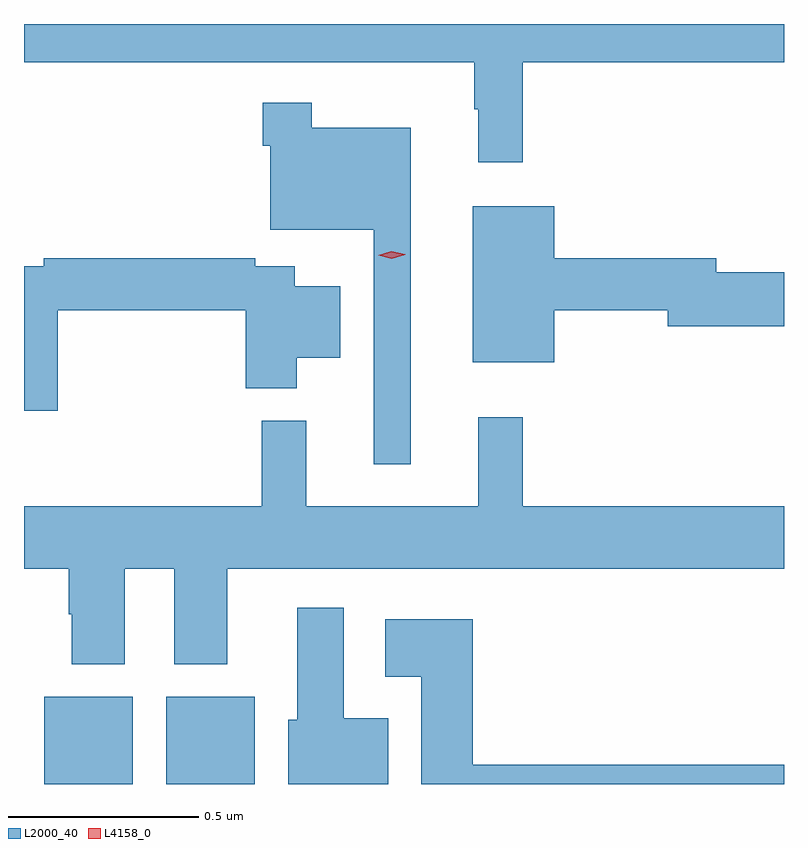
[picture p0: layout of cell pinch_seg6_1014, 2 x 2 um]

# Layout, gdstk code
import gdstk
lib = gdstk.Library(unit=1e-6, precision=1e-09)
def R(c, l, rs):  # rectangles x0, y0, x1, y1
    for r in rs: c.add(gdstk.rectangle(r[:2], r[2:], *l))
def P(c, l, *ps):  # polygons
    for p in ps: c.add(gdstk.Polygon(p, *l))
L2000_40 = (2000, 40)
L4158_0 = (4158, 0)

pinch_seg6_1014 = lib.new_cell('pinch_seg6_1014')
R(pinch_seg6_1014, L2000_40, [(291.131,946.769,291.364,946.999), (291.452,946.769,291.685,946.999)])
P(pinch_seg6_1014, L2000_40, [(292.391,948.668),(293.078,948.668),(293.078,948.769),(291.078,948.769),(291.078,948.668),(292.263,948.668),(292.263,948.545),(292.274,948.545),(292.274,948.405),(292.391,948.405)],
  [(292.096,948.496),(291.835,948.496),(291.835,948.562),(291.706,948.562),(291.706,948.449),(291.726,948.449),(291.726,948.227),(291.999,948.227),(291.999,947.61),(292.096,947.61)],
  [(292.474,948.016),(292.772,948.016),(292.772,947.974),(293.078,947.974),(293.078,948.116),(292.9,948.116),(292.9,948.152),(292.474,948.152),(292.474,948.289),(292.259,948.289),(292.259,947.879),(292.474,947.879)],
  [(291.167,948.016),(291.662,948.016),(291.662,947.81),(291.796,947.81),(291.796,947.891),(291.91,947.891),(291.91,948.079),(291.79,948.079),(291.79,948.132),(291.686,948.132),(291.686,948.152),(291.13,948.152),(291.13,948.132),(291.078,948.132),(291.078,947.751),(291.167,947.751)],
  [(291.078,947.336),(291.196,947.336),(291.196,947.216),(291.203,947.216),(291.203,947.084),(291.343,947.084),(291.343,947.336),(291.473,947.336),(291.473,947.084),(291.613,947.084),(291.613,947.336),(293.078,947.336),(293.078,947.5),(292.391,947.5),(292.391,947.734),(292.274,947.734),(292.274,947.5),(291.821,947.5),(291.821,947.725),(291.703,947.725),(291.703,947.5),(291.078,947.5)],
  [(292.036,946.942),(291.919,946.942),(291.919,947.233),(291.797,947.233),(291.797,946.938),(291.773,946.938),(291.773,946.769),(292.036,946.769)],
  [(293.078,946.82),(292.259,946.82),(292.259,947.203),(292.029,947.203),(292.029,947.051),(292.124,947.051),(292.124,946.769),(293.078,946.769)])
P(pinch_seg6_1014, L4158_0, [(292.046,948.151),(292.01,948.16),(292.009,948.16),(292.01,948.16),(292.045,948.171),(292.081,948.163),(292.081,948.163),(292.081,948.162)])

lib.write_gds('pinch_seg6_1014.gds')
